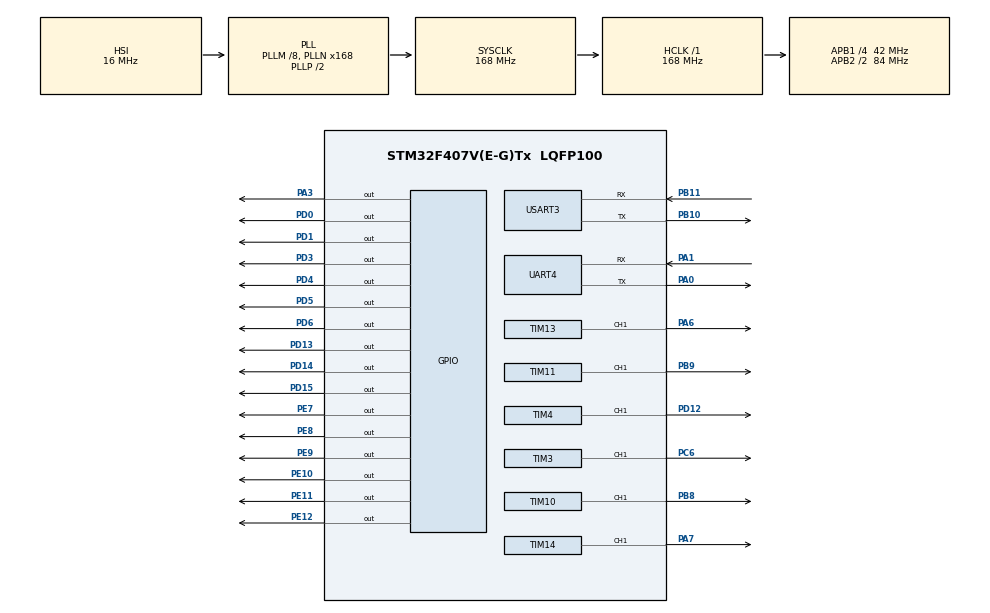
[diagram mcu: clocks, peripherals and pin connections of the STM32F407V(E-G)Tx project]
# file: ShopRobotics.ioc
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Mcu.Family=STM32F4
TIM2.Channel-Output\ Compare1\ No\ Output=TIM_CHANNEL_1
RCC.CortexFreq_Value=168000000
TIM14.AutoReloadPreload=TIM_AUTORELOAD_PRELOAD_ENABLE
PB10.Mode=Asynchronous
TIM10.ClockDivision=TIM_CLOCKDIVISION_DIV1
PB11.Signal=USART3_RX
TIM13.AutoReloadPreload=TIM_AUTORELOAD_PRELOAD_ENABLE
SH.S_TIM13_CH1.0=TIM13_CH1,PWM Generation1 CH1
RCC.SYSCLKSource=RCC_SYSCLKSOURCE_PLLCLK
ProjectManager.StackSize=0x400
PD13.Signal=GPIO_Output
SH.S_TIM14_CH1.0=TIM14_CH1,PWM Generation1 CH1
RCC.HCLKFreq_Value=168000000
PD4.Signal=GPIO_Output
RCC.APB2TimFreq_Value=168000000
VP_TIM10_VS_ClockSourceINT.Mode=Enable_Timer
PD0.Signal=GPIO_Output
RCC.AHBFreq_Value=168000000
TIM3.Channel-PWM\ Generation1\ CH1=TIM_CHANNEL_1
TIM3.ClockDivision=TIM_CLOCKDIVISION_DIV1
TIM10.AutoReloadPreload=TIM_AUTORELOAD_PRELOAD_ENABLE
RCC.HSE_VALUE=25000000
VP_TIM2_VS_no_output1.Mode=Output Compare1 No Output
TIM10.Channel=TIM_CHANNEL_1
PA6.GPIO_PuPd=GPIO_PULLUP
PE9.Signal=GPIO_Output
PA14.Mode=Serial_Wire
TIM3.Prescaler=64
PD14.GPIO_PuPd=GPIO_PULLUP
SH.S_TIM3_CH1.0=TIM3_CH1,PWM Generation1 CH1
PE10.Signal=GPIO_Output
TIM11.ClockDivision=TIM_CLOCKDIVISION_DIV1
Mcu.Package=LQFP100
PB9.Signal=S_TIM11_CH1
TIM2.Prescaler=168
PA6.Signal=S_TIM13_CH1
PD12.Signal=S_TIM4_CH1
SH.S_TIM10_CH1.0=TIM10_CH1,PWM Generation1 CH1
PD15.GPIO_PuPd=GPIO_PULLUP
PB9.GPIO_PuPd=GPIO_PULLUP
PC6.GPIO_PuPd=GPIO_PULLUP
RCC.APB2CLKDivider=RCC_HCLK_DIV2
PB9.GPIO_Speed=GPIO_SPEED_FREQ_HIGH
SH.S_TIM4_CH1.0=TIM4_CH1,PWM Generation1 CH1
RCC.APB1TimFreq_Value=84000000
VP_TIM14_VS_ClockSourceINT.Mode=Enable_Timer
PE7.Signal=GPIO_Output
PA6.GPIO_Speed=GPIO_SPEED_FREQ_HIGH
PD6.Signal=GPIO_Output
SH.S_TIM11_CH1.0=TIM11_CH1,PWM Generation1 CH1
PC6.GPIO_Speed=GPIO_SPEED_FREQ_HIGH
PD15.Signal=GPIO_Output
VP_TIM3_VS_ClockSourceINT.Mode=Internal
PA3.Signal=GPIO_Output
PE12.GPIO_PuPd=GPIO_PULLUP
NVIC.UART4_IRQn=true\:0\:0\:false\:false\:true\:true\:true
TIM4.Channel-PWM\ Generation1\ CH1=TIM_CHANNEL_1
TIM10.Prescaler=128
PD12.GPIO_Speed=GPIO_SPEED_FREQ_HIGH
TIM3.AutoReloadPreload=TIM_AUTORELOAD_PRELOAD_ENABLE
PD3.Signal=GPIO_Output
PB8.GPIO_PuPd=GPIO_PULLUP
PC6.Signal=S_TIM3_CH1
PD1.Signal=GPIO_Output
PD5.Signal=GPIO_Output
TIM11.Prescaler=128
RCC.APB1CLKDivider=RCC_HCLK_DIV4
UART4.VirtualMode=Asynchronous
PA0-WKUP.Signal=UART4_TX
VP_TIM11_VS_ClockSourceINT.Mode=Enable_Timer
PA0-WKUP.Mode=Asynchronous
PA13.Signal=SYS_JTMS-SWDIO
PB11.Mode=Asynchronous
TIM13.Channel=TIM_CHANNEL_1
ProjectManager.TargetToolchain=STM32CubeIDE
PE11.Signal=GPIO_Output
RCC.LSE_VALUE=32768
PA1.Signal=UART4_RX
PA7.GPIO_PuPd=GPIO_PULLUP
PB10.Signal=USART3_TX
board=custom
RCC.VCOOutputFreq_Value=336000000
PA7.GPIO_Speed=GPIO_SPEED_FREQ_HIGH
VP_TIM13_VS_ClockSourceINT.Mode=Enable_Timer
RCC.APB2Freq_Value=84000000
PA1.Mode=Asynchronous
TIM14.Channel=TIM_CHANNEL_1
VP_TIM2_VS_ClockSourceINT.Mode=Internal
TIM13.Prescaler=64
PE8.Signal=GPIO_Output
PD13.GPIO_PuPd=GPIO_PULLUP
PA13.Mode=Serial_Wire
Mcu.Name=STM32F407V(E-G)Tx
PE12.Signal=GPIO_Output
TIM14.Prescaler=64
PD14.Signal=GPIO_Output
RCC.48MHZClocksFreq_Value=84000000
RCC.SYSCLKFreq_VALUE=168000000
USART3.VirtualMode=VM_ASYNC
PA14.Signal=SYS_JTCK-SWCLK
ProjectManager.HeapSize=0x200
RCC.HSI_VALUE=16000000
TIM11.AutoReloadPreload=TIM_AUTORELOAD_PRELOAD_ENABLE
VP_TIM4_VS_ClockSourceINT.Mode=Internal
NVIC.PriorityGroup=NVIC_PRIORITYGROUP_4
RCC.PLLM=8
RCC.PLLN=168
TIM11.Channel=TIM_CHANNEL_1
PB8.Signal=S_TIM10_CH1
TIM2.AutoReloadPreload=TIM_AUTORELOAD_PRELOAD_ENABLE
RCC.APB1Freq_Value=42000000
PB8.GPIO_Speed=GPIO_SPEED_FREQ_HIGH
PD12.GPIO_PuPd=GPIO_PULLUP
PA7.Signal=S_TIM14_CH1

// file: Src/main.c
/* USER CODE BEGIN Header */
/**
  ******************************************************************************
  * @file           : main.c
  * @brief          : Main program body
  ******************************************************************************
  * @attention
  *
  * <h2><center>&copy; Copyright (c) 2022 STMicroelectronics.
  * All rights reserved.</center></h2>
  *
  * This software component is licensed by ST under BSD 3-Clause license,
  * the "License"; You may not use this file except in compliance with the
  * License. You may obtain a copy of the License at:
  *                        opensource.org/licenses/BSD-3-Clause
  *
  ******************************************************************************
  */
/* USER CODE END Header */
#include "main.h"
#include "tim.h"
#include "usart.h"
#include "gpio.h"

/* USER CODE BEGIN Includes */
#include "hw.h"
#include <stdio.h>
/* USER CODE END Includes */

void SystemClock_Config(void);
/* USER CODE BEGIN PFP */

#define DIR_PORT GPIOD
const uint16_t DIR_PINS[] = {GPIO_PIN_0, GPIO_PIN_1, GPIO_PIN_3, GPIO_PIN_4, GPIO_PIN_5, GPIO_PIN_6};
#define LIMIT_PORT GPIOE
const uint16_t LIMIT_PINS[] = {GPIO_PIN_7, GPIO_PIN_8, GPIO_PIN_9, GPIO_PIN_10, GPIO_PIN_11, GPIO_PIN_12};

// See https://microcontrollerslab.com/led-blinking-tutorial-stm32f4-discovery-board-gpio-hal-library/
#define LED_PORT GPIOD
// On error, light LD5 (PD14) = red
#define ERR_PIN GPIO_PIN_14
// On successful init, light LD4 (PD12) = greem
// WARNING: PD12 conflicts with TIM4 CH1
//#define SUC_PIN GPIO_PIN_12
// On data transfer, light LD6 (PD15) - blue
#define XFER_PIN GPIO_PIN_15

#define BUFLEN 128
#define UART3_FRAGMENT_LEN 1
uint8_t uart3_recv_buf[2][BUFLEN];
uint8_t buf_write_idx = 0;

void hw_set_dir_and_pwm(uint8_t j, int16_t hz) {
  TIM_HandleTypeDef tmr;
  switch(j) {
    case 0:
      tmr = htim3;
      break;
    case 1:
      tmr = htim4;
      break;
    case 2:
      tmr = htim10; // PB8 shows 1.4kHz
      break;
    case 3:
      tmr = htim11; // PB9 shows 1.6kHz
      break;
    case 4:
      tmr = htim13;
      break;
    case 5:
      tmr = htim14;
      break;
    default:
      return;
  }
  HAL_TIM_PWM_Stop(&tmr, TIM_CHANNEL_1);
  HAL_GPIO_WritePin(DIR_PORT, DIR_PINS[j], (hz > 0) ? GPIO_PIN_SET : GPIO_PIN_RESET);
  if (hz < 0) {
    hz = -hz;
  }
  if (hz != 0) {
    //tmr.Instance->PSC = TIM_PSC; // handled on init
    // (PSC+1)*(ARR+1) = TIMclk/Updatefrequency
    uint16_t arr = (TIM_CLK/hz)/(TIM_PSC+1) - 1;
    __HAL_TIM_SET_AUTORELOAD(&tmr, arr);
    __HAL_TIM_SET_COMPARE(&tmr, TIM_CHANNEL_1, arr/2); // 50% duty cycle
    HAL_TIM_PWM_Start(&tmr, TIM_CHANNEL_1);
  }
}

uint8_t uart3_out[BUFLEN];
uint8_t uart4_out[BUFLEN];
bool uart3_sending = false;
bool uart4_sending = false;
uint8_t* hw_uart_get_write_buffer(bool logging) {
  return (logging) ? uart4_out : uart3_out;
}
bool hw_uart_send(uint8_t len, bool logging) {
  uint8_t * out = (logging) ? uart4_out : uart3_out;
  bool * sending = (logging) ? &uart4_sending : &uart3_sending;
  UART_HandleTypeDef * huart = (logging) ? &huart4 : &huart3;
  if (BUFLEN < len || *sending) {
    return false;
  }
  *sending = true;
  HAL_UART_Transmit_IT(huart, out, len);
  return true;
}

bool hw_uart_busy(bool logging) {
  return (logging) ? uart4_sending : uart3_sending;
}

void HAL_UART_TxCpltCallback(UART_HandleTypeDef *huart) {
  if (huart == &huart3) {
    uart3_sending = false;
  } else if (huart == &huart4) {
    uart4_sending = false;
  }
}

#define PACKET_START_BYTE 0x02
uint8_t buf_read_idx = 0;
uint8_t uart3_fragment_buf[UART3_FRAGMENT_LEN];
uint8_t hw_idx[2] = {0,0};
uint8_t hw_readlen[2] = {0,0};
bool hw_uart_data_ready() {
  return buf_write_idx != buf_read_idx;
}
void hw_uart_flip_buffer() {
  buf_read_idx = (buf_read_idx + 1) % 2;
}
uint8_t* hw_uart_recv(uint8_t* sz) {
  if (!hw_uart_data_ready()) {
    return NULL;
  }
  *sz = hw_readlen[buf_read_idx];
  return uart3_recv_buf[buf_read_idx];
}

/* UART1 Interrupt Service Routine */
void USART3_IRQHandler(void)
{
  HAL_UART_IRQHandler(&huart3);
}

void HAL_UART_RxCpltCallback(UART_HandleTypeDef *huart) {
  HAL_GPIO_TogglePin(LED_PORT, XFER_PIN);
  uint8_t c;

  // echo back
  HAL_UART_Transmit(&huart3, uart3_fragment_buf, 1, 100);

  uint8_t* buf = uart3_recv_buf[buf_write_idx];
  uint8_t* i = &(hw_idx[buf_write_idx]);
  uint8_t* r = &(hw_readlen[buf_write_idx]);
  for (int f = 0; f < UART3_FRAGMENT_LEN; f++) {
    c = uart3_fragment_buf[f];
    if (c == PACKET_START_BYTE) {
      // Magic byte, next byte is length
      *i=0;
      *r=0;
      continue;
    }
    if (*i == -1) {
      // Skip other bytes until we've processed a start byte
      continue;
    }
    if (*r == 0) {
      // NOTE: Max length is 255 characters
      *r = c;
      continue;
    }
    buf[(*i)++] = c;
    if (*i == *r) {
      // Essentially, drop the packet if we're about to write into
      // an occupied buffer
      if (buf_write_idx == buf_read_idx) {
        buf_write_idx = (buf_write_idx+1) % 2;
      }
      *i = -1;
    } else if (*i >= BUFLEN) {
      *i = -1;
      // TODO overrun warning indicator
    }
  }
  HAL_UART_Receive_IT(&huart3, uart3_recv_buf[buf_write_idx], UART3_FRAGMENT_LEN);
}

bool hw_limit_read(uint8_t j) {
  return HAL_GPIO_ReadPin(LIMIT_PORT, LIMIT_PINS[j]) != GPIO_PIN_RESET;
}

// Note that the micros value is NOT uint64_t - overflows every ~71 minutes
uint32_t hw_micros() {
  return TIM2->CNT;
}

/* USER CODE END PFP */

/* USER CODE BEGIN 0 */
void setup();
void loop();

/* USER CODE END 0 */

uint8_t Test2[128]; //Data to send
int main(void)
{

  /* MCU Configuration--------------------------------------------------------*/

  /* Reset of all peripherals, Initializes the Flash interface and the Systick. */
  HAL_Init();

  /* Configure the system clock */
  SystemClock_Config();

  /* Initialize all configured peripherals */
  MX_GPIO_Init();
  MX_TIM3_Init();
  MX_TIM4_Init();
  MX_TIM10_Init();
  MX_TIM11_Init();
  MX_TIM13_Init();
  MX_TIM14_Init();
  MX_UART4_Init();
  MX_TIM2_Init();
  MX_USART3_UART_Init();
  /* USER CODE BEGIN 2 */

  // Start our microsecond counter
  HAL_TIM_Base_Start(&htim2);
  setup();

  /* USER CODE END 2 */

  /* Infinite loop */
  /* USER CODE BEGIN WHILE */
  while (1)
  {
    //loop();

    /*
    uint8_t Test[] = "Beep "; //Data to send
    HAL_UART_Receive (&huart3, Test,sizeof(Test), 1000);  // receive 4 bytes of data
    if(HAL_UART_Transmit(&huart3,Test,sizeof(Test),100) != HAL_OK) {
    Error_Handler();
    }
    */

    uint32_t val = 200;
    sprintf((char*)Test2, "%lu\n", val);
    // HAL_UART_Receive (&huart4, Test2,sizeof(Test2), 1000);  // receive 4 bytes of data
    if(HAL_UART_Transmit(&huart4,Test2,sizeof(Test2),100) != HAL_OK) {
      Error_Handler();
    }
    HAL_Delay(1000);

    /* USER CODE END WHILE */

  }
}

void SystemClock_Config(void)
{
  RCC_OscInitTypeDef RCC_OscInitStruct = {0};
  RCC_ClkInitTypeDef RCC_ClkInitStruct = {0};

  /** Configure the main internal regulator output voltage
  */
  __HAL_RCC_PWR_CLK_ENABLE();
  __HAL_PWR_VOLTAGESCALING_CONFIG(PWR_REGULATOR_VOLTAGE_SCALE1);
  /** Initializes the RCC Oscillators according to the specified parameters
  * in the RCC_OscInitTypeDef structure.
  */
  RCC_OscInitStruct.OscillatorType = RCC_OSCILLATORTYPE_HSI;
  RCC_OscInitStruct.HSIState = RCC_HSI_ON;
  RCC_OscInitStruct.HSICalibrationValue = RCC_HSICALIBRATION_DEFAULT;
  RCC_OscInitStruct.PLL.PLLState = RCC_PLL_ON;
  RCC_OscInitStruct.PLL.PLLSource = RCC_PLLSOURCE_HSI;
  RCC_OscInitStruct.PLL.PLLM = 8;
  RCC_OscInitStruct.PLL.PLLN = 168;
  RCC_OscInitStruct.PLL.PLLP = RCC_PLLP_DIV2;
  RCC_OscInitStruct.PLL.PLLQ = 4;
  if (HAL_RCC_OscConfig(&RCC_OscInitStruct) != HAL_OK)
  {
    Error_Handler();
  }
  /** Initializes the CPU, AHB and APB buses clocks
  */
  RCC_ClkInitStruct.ClockType = RCC_CLOCKTYPE_HCLK|RCC_CLOCKTYPE_SYSCLK
                              |RCC_CLOCKTYPE_PCLK1|RCC_CLOCKTYPE_PCLK2;
  RCC_ClkInitStruct.SYSCLKSource = RCC_SYSCLKSOURCE_PLLCLK;
  RCC_ClkInitStruct.AHBCLKDivider = RCC_SYSCLK_DIV1;
  RCC_ClkInitStruct.APB1CLKDivider = RCC_HCLK_DIV4;
  RCC_ClkInitStruct.APB2CLKDivider = RCC_HCLK_DIV2;

  if (HAL_RCC_ClockConfig(&RCC_ClkInitStruct, FLASH_LATENCY_5) != HAL_OK)
  {
    Error_Handler();
  }
}

void Error_Handler(void)
{
  /* USER CODE BEGIN Error_Handler_Debug */
  __disable_irq();
  HAL_GPIO_WritePin(LED_PORT, ERR_PIN, GPIO_PIN_SET);
  while (1) {}
  /* USER CODE END Error_Handler_Debug */
}

/************************ (C) COPYRIGHT STMicroelectronics *****END OF FILE****/
